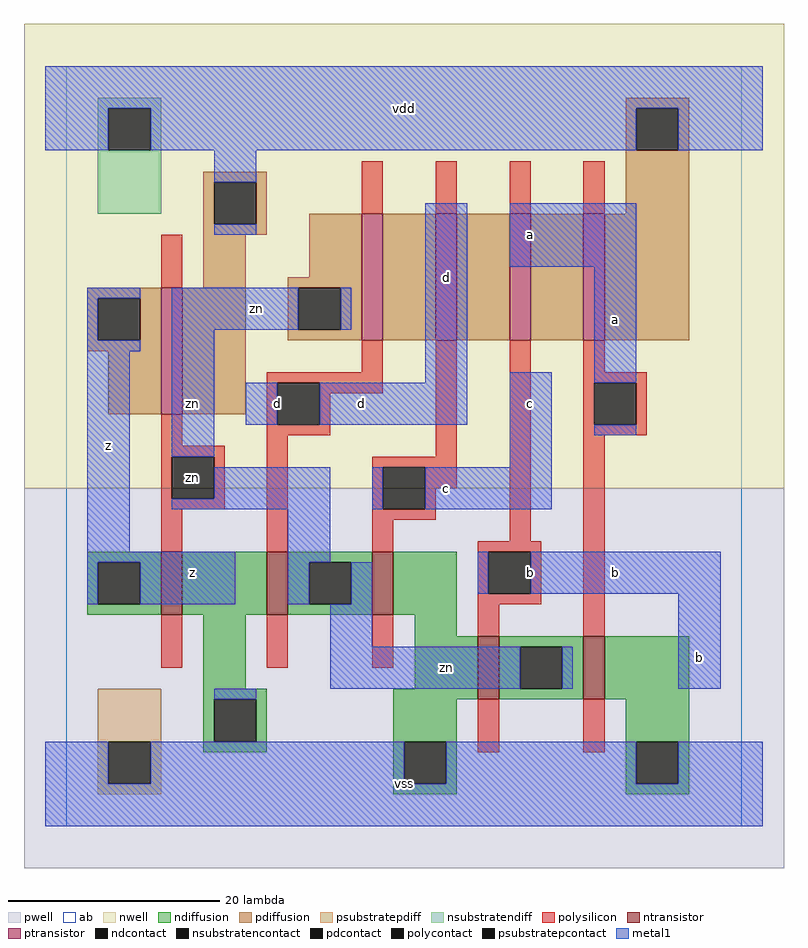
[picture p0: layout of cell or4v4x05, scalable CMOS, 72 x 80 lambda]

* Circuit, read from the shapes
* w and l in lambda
.subckt or4v4x05 a b c d vdd vss z zn
M1 vss zn z vss nfet w=6 l=2
M2 zn d vss vss nfet w=6 l=2
M3 vss c zn vss nfet w=6 l=2
M4 zn b vss vss nfet w=6 l=2
M5 vss a zn vss nfet w=6 l=2
M6 vdd zn z vdd pfet w=12 l=2
M7 n1 d zn vdd pfet w=12 l=2
M8 n2 c n1 vdd pfet w=12 l=2
M9 n3 b n2 vdd pfet w=12 l=2
M10 vdd a n3 vdd pfet w=12 l=2
.ends

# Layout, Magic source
magic
tech scmos
<< ab >>
rect 0 0 64 72
<< pwell >>
rect -4 -4 68 32
<< nwell >>
rect -4 32 68 76
<< polysilicon >>
rect 28 58 30 63
rect 35 58 37 63
rect 42 58 44 63
rect 49 58 51 63
rect 9 51 11 56
rect 28 43 30 46
rect 19 42 30 43
rect 9 36 11 39
rect 19 38 20 42
rect 24 41 30 42
rect 24 38 25 41
rect 19 37 25 38
rect 9 35 15 36
rect 9 31 10 35
rect 14 31 15 35
rect 9 30 15 31
rect 9 26 11 30
rect 19 26 21 37
rect 35 35 37 46
rect 29 34 37 35
rect 29 30 30 34
rect 34 32 37 34
rect 34 30 35 32
rect 29 29 35 30
rect 29 26 31 29
rect 42 27 44 46
rect 49 43 51 46
rect 49 42 55 43
rect 49 38 50 42
rect 54 38 55 42
rect 49 37 55 38
rect 39 26 45 27
rect 9 15 11 20
rect 19 15 21 20
rect 29 15 31 20
rect 39 22 40 26
rect 44 22 45 26
rect 39 21 45 22
rect 39 18 41 21
rect 49 18 51 37
rect 39 7 41 12
rect 49 7 51 12
<< ndiffusion >>
rect 2 25 9 26
rect 2 21 3 25
rect 7 21 9 25
rect 2 20 9 21
rect 11 20 19 26
rect 21 25 29 26
rect 21 21 23 25
rect 27 21 29 25
rect 21 20 29 21
rect 31 20 37 26
rect 13 13 17 20
rect 33 18 37 20
rect 33 13 39 18
rect 13 12 19 13
rect 13 8 14 12
rect 18 8 19 12
rect 13 7 19 8
rect 31 12 39 13
rect 41 17 49 18
rect 41 13 43 17
rect 47 13 49 17
rect 41 12 49 13
rect 51 12 59 18
rect 31 8 37 12
rect 31 4 32 8
rect 36 4 37 8
rect 53 8 59 12
rect 31 3 37 4
rect 53 4 54 8
rect 58 4 59 8
rect 53 3 59 4
<< pdiffusion >>
rect 53 68 59 69
rect 53 64 54 68
rect 58 64 59 68
rect 13 61 19 62
rect 13 57 14 61
rect 18 57 19 61
rect 53 58 59 64
rect 13 56 19 57
rect 13 51 17 56
rect 23 52 28 58
rect 2 50 9 51
rect 2 46 3 50
rect 7 46 9 50
rect 2 45 9 46
rect 4 39 9 45
rect 11 39 17 51
rect 21 51 28 52
rect 21 47 22 51
rect 26 47 28 51
rect 21 46 28 47
rect 30 46 35 58
rect 37 46 42 58
rect 44 46 49 58
rect 51 46 59 58
<< metal1 >>
rect -2 68 66 72
rect -2 64 4 68
rect 8 64 54 68
rect 58 64 66 68
rect 14 61 18 64
rect 14 56 18 57
rect 2 50 7 51
rect 2 46 3 50
rect 2 45 7 46
rect 10 47 22 51
rect 26 47 27 51
rect 2 26 6 45
rect 10 35 14 47
rect 34 42 38 59
rect 42 53 54 59
rect 17 38 20 42
rect 24 38 38 42
rect 42 34 46 43
rect 50 42 54 53
rect 50 37 54 38
rect 14 31 25 34
rect 10 30 25 31
rect 29 30 30 34
rect 34 30 46 34
rect 2 25 16 26
rect 2 21 3 25
rect 7 21 16 25
rect 21 25 25 30
rect 21 21 23 25
rect 27 21 29 25
rect 39 22 40 26
rect 44 22 62 26
rect 25 17 29 21
rect 25 13 43 17
rect 47 13 48 17
rect 58 13 62 22
rect 14 12 18 13
rect -2 4 4 8
rect 8 4 32 8
rect 36 4 54 8
rect 58 4 66 8
rect -2 0 66 4
<< ntransistor >>
rect 9 20 11 26
rect 19 20 21 26
rect 29 20 31 26
rect 39 12 41 18
rect 49 12 51 18
<< ptransistor >>
rect 9 39 11 51
rect 28 46 30 58
rect 35 46 37 58
rect 42 46 44 58
rect 49 46 51 58
<< polycontact >>
rect 20 38 24 42
rect 10 31 14 35
rect 30 30 34 34
rect 50 38 54 42
rect 40 22 44 26
<< ndcontact >>
rect 3 21 7 25
rect 23 21 27 25
rect 14 8 18 12
rect 43 13 47 17
rect 32 4 36 8
rect 54 4 58 8
<< pdcontact >>
rect 54 64 58 68
rect 14 57 18 61
rect 3 46 7 50
rect 22 47 26 51
<< psubstratepcontact >>
rect 4 4 8 8
<< nsubstratencontact >>
rect 4 64 8 68
<< psubstratepdiff >>
rect 3 8 9 13
rect 3 4 4 8
rect 8 4 9 8
rect 3 3 9 4
<< nsubstratendiff >>
rect 3 68 9 69
rect 3 64 4 68
rect 8 64 9 68
rect 3 58 9 64
<< labels >>
rlabel polycontact 12 33 12 33 6 zn
rlabel metal1 12 24 12 24 6 z
rlabel metal1 4 36 4 36 6 z
rlabel metal1 12 40 12 40 6 zn
rlabel metal1 20 40 20 40 6 d
rlabel metal1 28 40 28 40 6 d
rlabel metal1 18 49 18 49 6 zn
rlabel metal1 32 4 32 4 6 vss
rlabel metal1 36 15 36 15 6 zn
rlabel metal1 36 32 36 32 6 c
rlabel metal1 44 24 44 24 6 b
rlabel metal1 44 40 44 40 6 c
rlabel metal1 36 52 36 52 6 d
rlabel metal1 44 56 44 56 6 a
rlabel metal1 32 68 32 68 6 vdd
rlabel metal1 60 16 60 16 6 b
rlabel metal1 52 24 52 24 6 b
rlabel metal1 52 48 52 48 6 a
<< end >>
